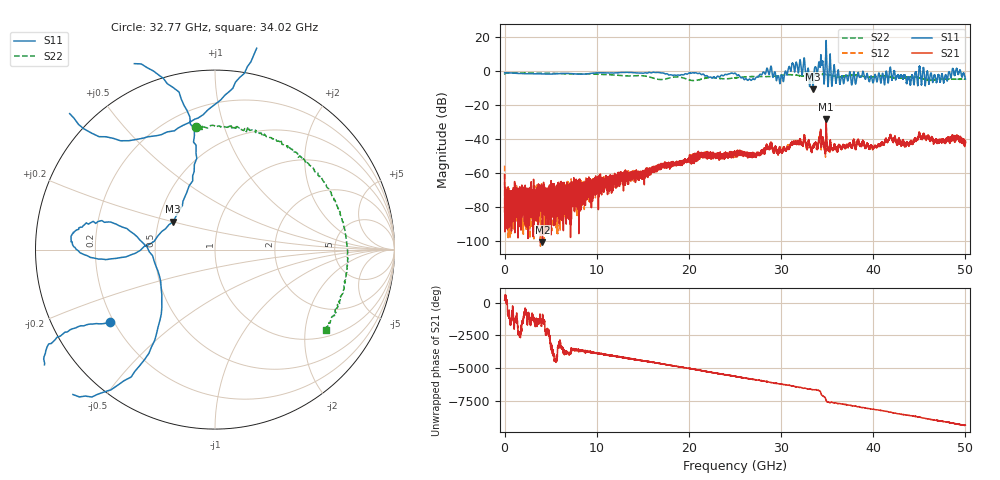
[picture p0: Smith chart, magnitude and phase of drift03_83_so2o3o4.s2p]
!Created with skrf (http://scikit-rf.org).
# Hz S RI R 50.0
!freq ReS11 ImS11 ReS21 ImS21 ReS12 ImS12 ReS22 ImS22
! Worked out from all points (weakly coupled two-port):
!   10001 points, 300 kHz to 50 GHz, reference 50 ohm
!   highest |S21| = -28.44 dB at 34.9 GHz (marker M1); lowest = -100.7 dB at 4.11 GHz (marker M2)
!   lowest |S11| = -11.1 dB at 33.47 GHz (marker M3), VSWR 1.78, Z = 29.8 + j10.1 ohm
!   |S11| at or under -10 dB: 33.44904 GHz to 33.48313 GHz (34.09 MHz wide, 0.102 % of centre)
!   |S22| runs from -5.9 to -1.3 dB; largest |S21 - S12| = 0.01
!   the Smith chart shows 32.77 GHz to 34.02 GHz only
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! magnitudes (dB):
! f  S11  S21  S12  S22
! 300 kHz  -1.3  -61.3  -55.9  -2.0
! 255.3 MHz  -1.3  -77.8  -70.5  -1.4
! 705.3 MHz  -1.4  -77.9  -86.1  -1.5
! 4.11 GHz  -2.0  -100.7  -81.7  -1.6
! 8.335 GHz  -2.2  -70.2  -69.1  -1.9
! 16.67 GHz  -1.1  -57.1  -56.1  -5.1
! 25 GHz  -1.5  -48.5  -49.1  -4.3
! 26.92 GHz  -4.9  -49.4  -49.7  -3.5
! 28.73 GHz  -2.2  -45.6  -45.5  -3.5
! 30.06 GHz  -2.5  -47.9  -46.7  -2.8
! 31.87 GHz  -1.4  -42.7  -41.9  -2.9
! 33.34 GHz  -2.2  -47.8  -47.3  -2.9
! 33.47 GHz  -11.1  -45.0  -44.6  -2.8
! 34.3 GHz  7.8  -34.5  -35.8  -2.3
! 34.9 GHz  17.7  -28.4  -31.0  -2.3
! 36.59 GHz  -3.5  -45.4  -45.8  -3.6
! 40.17 GHz  -2.5  -44.3  -44.3  -3.7
! 41.67 GHz  -5.5  -40.7  -40.4  -3.6
! 43.84 GHz  -3.7  -44.4  -43.9  -3.9
! 45.18 GHz  -5.3  -39.5  -39.1  -4.4
! 48.84 GHz  -2.7  -42.2  -39.8  -5.1
! 50 GHz  -5.0  -42.6  -42.2  -5.0
